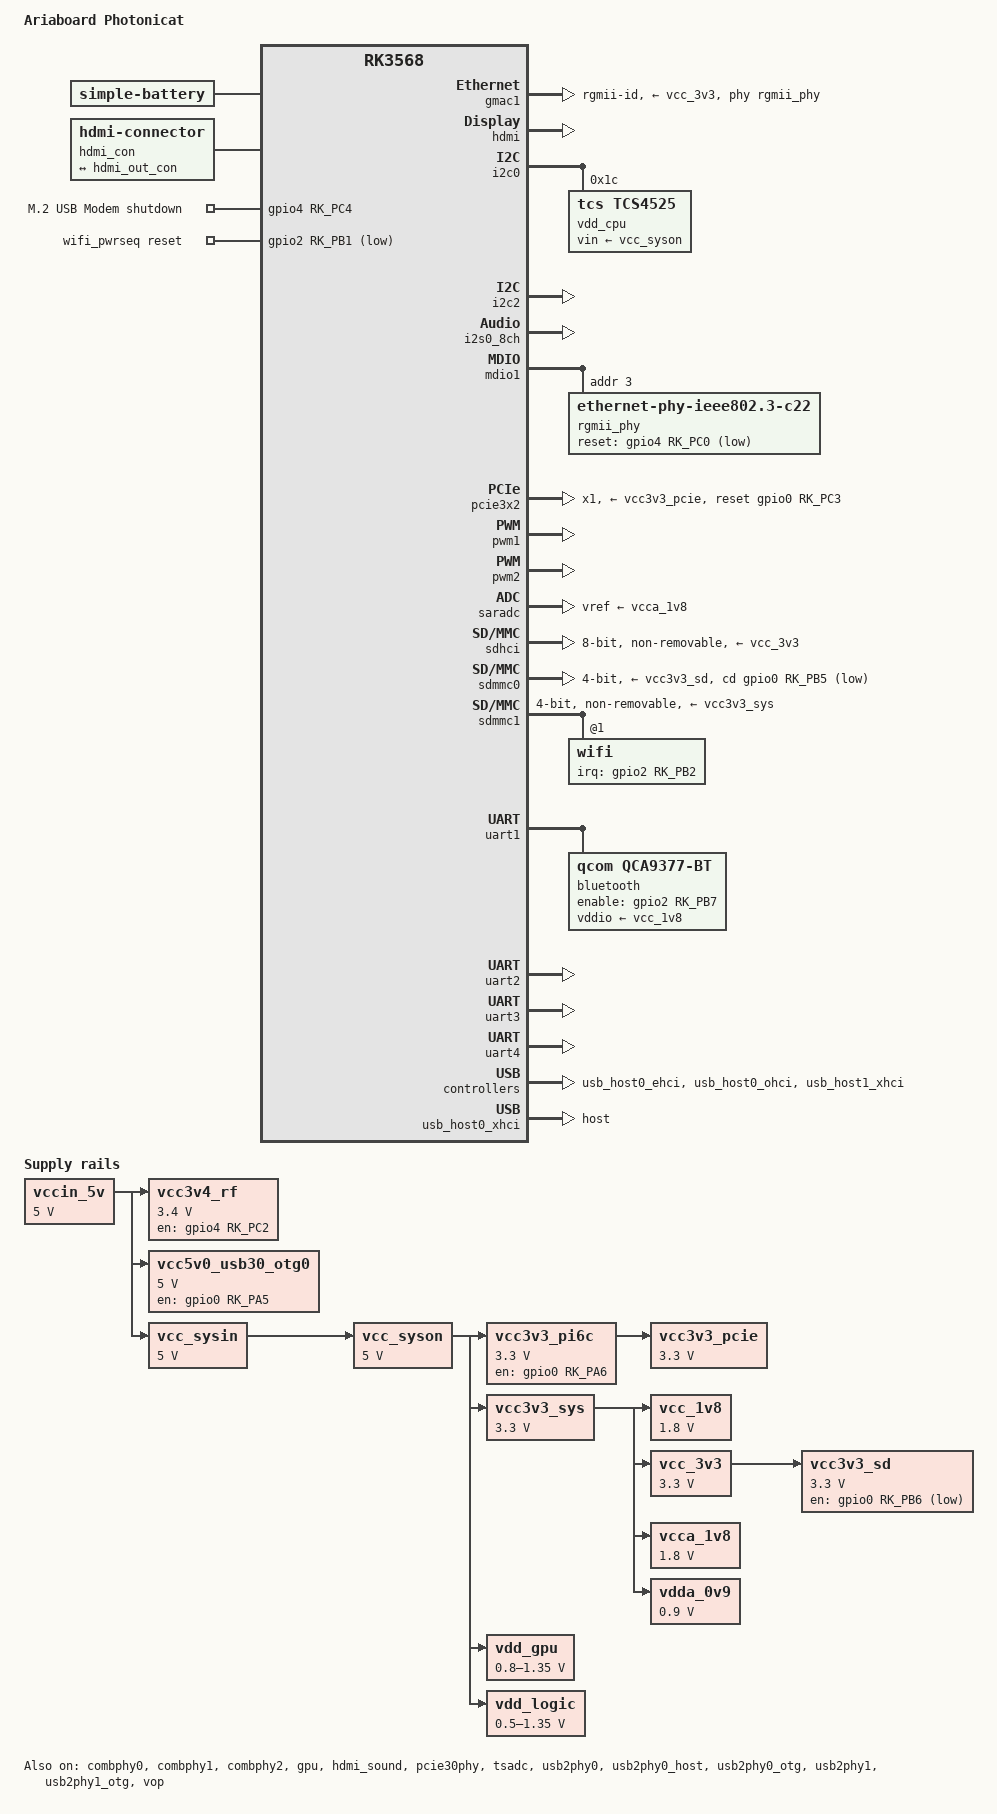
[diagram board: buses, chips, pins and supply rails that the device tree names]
// SPDX-License-Identifier: (GPL-2.0+ OR MIT)

/dts-v1/;

#include <dt-bindings/gpio/gpio.h>
#include <dt-bindings/pinctrl/rockchip.h>
#include <dt-bindings/soc/rockchip,vop2.h>
#include "rk3568.dtsi"

/ {
	model = "Ariaboard Photonicat";
	compatible = "ariaboard,photonicat", "rockchip,rk3568";

	aliases {
		ethernet0 = &gmac0;
		ethernet1 = &gmac1;
		mmc0 = &sdhci;
		mmc1 = &sdmmc0;
		mmc2 = &sdmmc1;
	};

	battery: battery {
		compatible = "simple-battery";
		device-chemistry = "lithium-ion";
		charge-full-design-microamp-hours = <6800000>;
		energy-full-design-microwatt-hours = <25000000>;
		voltage-max-design-microvolt = <4200000>;
		voltage-min-design-microvolt = <3400000>;

		ocv-capacity-celsius = <25>;
		ocv-capacity-table-0 =  <4100000 100>, <4040000 90>,
					<3980000 80>, <3920000 70>,
					<3870000 60>, <3820000 50>,
					<3790000 40>, <3770000 30>,
					<3740000 20>, <3680000 10>,
					<3450000 0>;
	};

	chosen: chosen {
		stdout-path = "serial2:1500000n8";
	};

	hdmi_con: hdmi-con {
		compatible = "hdmi-connector";
		type = "a";

		port {
			hdmi_con_in: endpoint {
				remote-endpoint = <&hdmi_out_con>;
			};
		};
	};

	vcc_1v8: regulator-vcc-1v8 {
		compatible = "regulator-fixed";
		regulator-name = "vcc_1v8";
		regulator-always-on;
		regulator-boot-on;
		regulator-min-microvolt = <1800000>;
		regulator-max-microvolt = <1800000>;
		vin-supply = <&vcc3v3_sys>;
	};

	vcc_3v3: regulator-vcc-3v3 {
		compatible = "regulator-fixed";
		regulator-name = "vcc_3v3";
		regulator-always-on;
		regulator-boot-on;
		regulator-min-microvolt = <3300000>;
		regulator-max-microvolt = <3300000>;
		vin-supply = <&vcc3v3_sys>;
	};

	/* actually fed by vcc_syson, dependent
	 * on pi6c clock generator
	 */
	vcc3v3_pcie: regulator-vcc3v3-pcie {
		compatible = "regulator-fixed";
		regulator-name = "vcc3v3_pcie";
		regulator-always-on;
		regulator-boot-on;
		regulator-min-microvolt = <3300000>;
		regulator-max-microvolt = <3300000>;
		vin-supply = <&vcc3v3_pi6c>;
	};

	/* pi6c pcie clock generator */
	vcc3v3_pi6c: regulator-vcc3v3-pi6c {
		compatible = "regulator-fixed";
		enable-active-high;
		gpio = <&gpio0 RK_PA6 GPIO_ACTIVE_HIGH>;
		pinctrl-names = "default";
		pinctrl-0 = <&pcie_pwren_h>;
		regulator-name = "vcc3v3_pi6c";
		regulator-min-microvolt = <3300000>;
		regulator-max-microvolt = <3300000>;
		vin-supply = <&vcc_syson>;
	};

	vcc3v3_sd: regulator-vcc3v3-sd {
		compatible = "regulator-fixed";
		gpio = <&gpio0 RK_PB6 GPIO_ACTIVE_LOW>;
		pinctrl-names = "default";
		pinctrl-0 = <&sdmmc0_pwren>;
		regulator-boot-on;
		regulator-name = "vcc3v3_sd";
		regulator-min-microvolt = <3300000>;
		regulator-max-microvolt = <3300000>;
		vin-supply = <&vcc_3v3>;
	};

	vcc3v3_sys: regulator-vcc3v3-sys {
		compatible = "regulator-fixed";
		regulator-name = "vcc3v3_sys";
		regulator-always-on;
		regulator-boot-on;
		regulator-min-microvolt = <3300000>;
		regulator-max-microvolt = <3300000>;
		vin-supply = <&vcc_syson>;
	};

	vcc3v4_rf: regulator-vcc3v4-rf {
		compatible = "regulator-fixed";
		enable-active-high;
		gpio = <&gpio4 RK_PC2 GPIO_ACTIVE_HIGH>;
		pinctrl-names = "default";
		pinctrl-0 = <&rf_pwr_en>;
		regulator-name = "vcc3v4_rf";
		regulator-min-microvolt = <3400000>;
		regulator-max-microvolt = <3400000>;
		vin-supply = <&vccin_5v>;
	};

	vcc5v0_usb30_otg0: regulator-vcc5v0-usb30-otg0 {
		compatible = "regulator-fixed";
		enable-active-high;
		gpio = <&gpio0 RK_PA5 GPIO_ACTIVE_HIGH>;
		pinctrl-names = "default";
		pinctrl-0 = <&usb_host_pwren_h>;
		regulator-name = "vcc5v0_usb30_otg0";
		regulator-min-microvolt = <5000000>;
		regulator-max-microvolt = <5000000>;
		vin-supply = <&vccin_5v>;
	};

	vccin_5v: regulator-vccin-5v {
		compatible = "regulator-fixed";
		regulator-name = "vccin_5v";
		regulator-always-on;
		regulator-boot-on;
		regulator-min-microvolt = <5000000>;
		regulator-max-microvolt = <5000000>;
	};

	vcc_sysin: regulator-vcc-sysin {
		compatible = "regulator-fixed";
		regulator-name = "vcc_sysin";
		regulator-always-on;
		regulator-boot-on;
		regulator-min-microvolt = <5000000>;
		regulator-max-microvolt = <5000000>;
		vin-supply = <&vccin_5v>;
	};

	vcc_syson: regulator-vcc-syson {
		compatible = "regulator-fixed";
		regulator-name = "vcc_syson";
		regulator-always-on;
		regulator-boot-on;
		regulator-min-microvolt = <5000000>;
		regulator-max-microvolt = <5000000>;
		vin-supply = <&vcc_sysin>;
	};

	vcca_1v8: regulator-vcca-1v8 {
		compatible = "regulator-fixed";
		regulator-name = "vcca_1v8";
		regulator-always-on;
		regulator-boot-on;
		regulator-min-microvolt = <1800000>;
		regulator-max-microvolt = <1800000>;
		vin-supply = <&vcc3v3_sys>;
	};

	vdda_0v9: regulator-vdda-0v9 {
		compatible = "regulator-fixed";
		regulator-name = "vdda_0v9";
		regulator-always-on;
		regulator-boot-on;
		regulator-min-microvolt = <900000>;
		regulator-max-microvolt = <900000>;
		vin-supply = <&vcc3v3_sys>;
	};

	vdd_gpu: regulator-vdd-gpu {
		compatible = "pwm-regulator";
		pwms = <&pwm2 0 5000 1>;
		pwm-supply = <&vcc_syson>;
		regulator-name = "vdd_gpu";
		regulator-min-microvolt = <800000>;
		regulator-max-microvolt = <1350000>;
		regulator-ramp-delay = <6001>;
		regulator-settling-time-up-us = <250>;
	};

	vdd_logic: regulator-vdd-logic {
		compatible = "pwm-regulator";
		pwms = <&pwm1 0 5000 1>;
		pwm-supply = <&vcc_syson>;
		regulator-name = "vdd_logic";
		regulator-min-microvolt = <500000>;
		regulator-max-microvolt = <1350000>;
		regulator-ramp-delay = <6001>;
		regulator-settling-time-up-us = <250>;
	};

	rfkill-modem {
		compatible = "rfkill-gpio";
		label = "M.2 USB Modem";
		radio-type = "wwan";
		shutdown-gpios = <&gpio4 RK_PC4 GPIO_ACTIVE_HIGH>;
	};

	wifi_pwrseq: wifi-pwrseq {
		compatible = "mmc-pwrseq-simple";
		clocks = <&pmucru CLK_RTC_32K>;
		clock-names = "ext_clock";
		pinctrl-names = "default";
		pinctrl-0 = <&wifi_reg_on_h &clk32k_out1>;
		post-power-on-delay-ms = <200>;
		reset-gpios = <&gpio2 RK_PB1 GPIO_ACTIVE_LOW>;
	};
};

&combphy0 {
	status = "okay";
};

&combphy1 {
	status = "okay";
};

&combphy2 {
	status = "okay";
};

&cpu0 {
	cpu-supply = <&vdd_cpu>;
};

&cpu1 {
	cpu-supply = <&vdd_cpu>;
};

&cpu2 {
	cpu-supply = <&vdd_cpu>;
};

&cpu3 {
	cpu-supply = <&vdd_cpu>;
};

/* Motorcomm YT8521SC LAN port (require SGMII) */
&gmac0 {
	status = "disabled";
};

/* Motorcomm YT8521SC WAN port */
&gmac1 {
	assigned-clocks = <&cru SCLK_GMAC1_RX_TX>, <&cru SCLK_GMAC1>;
	assigned-clock-parents = <&cru SCLK_GMAC1_RGMII_SPEED>;
	assigned-clock-rates = <0>, <125000000>;
	clock_in_out = "output";
	phy-handle = <&rgmii_phy>;
	phy-mode = "rgmii-id";
	phy-supply = <&vcc_3v3>;
	pinctrl-names = "default";
	pinctrl-0 = <&gmac1m1_miim
		     &gmac1m1_tx_bus2
		     &gmac1m1_rx_bus2
		     &gmac1m1_rgmii_clk
		     &gmac1m1_rgmii_bus>;
	status = "okay";
};

&gpu {
	mali-supply = <&vdd_gpu>;
	status = "okay";
};

&hdmi {
	avdd-0v9-supply = <&vdda_0v9>;
	avdd-1v8-supply = <&vcca_1v8>;
	status = "okay";
};

&hdmi_in {
	hdmi_in_vp0: endpoint {
		remote-endpoint = <&vp0_out_hdmi>;
	};
};

&hdmi_out {
	hdmi_out_con: endpoint {
		remote-endpoint = <&hdmi_con_in>;
	};
};

&hdmi_sound {
	status = "okay";
};

&i2c0 {
	status = "okay";

	vdd_cpu: regulator@1c {
		compatible = "tcs,tcs4525";
		reg = <0x1c>;
		fcs,suspend-voltage-selector = <1>;
		regulator-name = "vdd_cpu";
		regulator-always-on;
		regulator-boot-on;
		regulator-min-microvolt = <800000>;
		regulator-max-microvolt = <1150000>;
		regulator-ramp-delay = <2300>;
		vin-supply = <&vcc_syson>;

		regulator-state-mem {
			regulator-off-in-suspend;
		};
	};
};

&i2c2 {
	pinctrl-names = "default";
	pinctrl-0 = <&i2c2m1_xfer>;
	status = "okay";
};

&i2s0_8ch {
	status = "okay";
};

&mdio1 {
	rgmii_phy: ethernet-phy@3 {
		compatible = "ethernet-phy-ieee802.3-c22";
		reg = <0x3>;
		reset-assert-us = <20000>;
		reset-deassert-us = <100000>;
		reset-gpios = <&gpio4 RK_PC0 GPIO_ACTIVE_LOW>;
		rx-internal-delay-ps = <1500>;
		tx-internal-delay-ps = <1500>;
	};
};

&pcie30phy {
	status = "okay";
};

/* M.2 E-Key for PCIe WLAN */
&pcie3x2 {
	max-link-speed = <1>;
	num-lanes = <1>;
	pinctrl-names = "default";
	pinctrl-0 = <&pcie30x1m0_pins>;
	reset-gpios = <&gpio0 RK_PC3 GPIO_ACTIVE_HIGH>;
	vpcie3v3-supply = <&vcc3v3_pcie>;
	status = "okay";
};

&pinctrl {
	bt {
		bt_reg_on_h: bt-reg-on-h {
			rockchip,pins = <2 RK_PB7 RK_FUNC_GPIO &pcfg_pull_none>;
		};
	};

	pcie {
		pcie_pwren_h: pcie-pwren-h {
			rockchip,pins = <0 RK_PA6 RK_FUNC_GPIO &pcfg_pull_none>;
		};
	};

	sdmmc0 {
		sdmmc0_pwren: sdmmc0-pwren {
			rockchip,pins = <0 RK_PB6 RK_FUNC_GPIO &pcfg_pull_none>;
		};
	};

	usb {
		rf_pwr_en: rf-pwr-en {
			rockchip,pins = <4 RK_PC2 RK_FUNC_GPIO &pcfg_pull_none>;
		};

		usb_host_pwren_h: usb-host-pwren-h {
			rockchip,pins = <0 RK_PA5 RK_FUNC_GPIO &pcfg_pull_none>;
		};
	};

	wifi {
		wifi_reg_on_h: wifi-reg-on-h {
			rockchip,pins = <2 RK_PB1 RK_FUNC_GPIO &pcfg_pull_none>;
		};
	};
};

&pmu_io_domains {
	pmuio1-supply = <&vcc_3v3>;
	pmuio2-supply = <&vcc_3v3>;
	vccio1-supply = <&vcc_3v3>;
	vccio2-supply = <&vcc_1v8>;
	vccio3-supply = <&vcc_3v3>;
	vccio4-supply = <&vcc_1v8>;
	vccio5-supply = <&vcc_3v3>;
	vccio6-supply = <&vcc_3v3>;
	vccio7-supply = <&vcc_3v3>;
	status = "okay";
};

&pwm1 {
	status = "okay";
};

&pwm2 {
	status = "okay";
};

&saradc {
	vref-supply = <&vcca_1v8>;
	status = "okay";
};

/* eMMC */
&sdhci {
	bus-width = <8>;
	max-frequency = <200000000>;
	mmc-hs200-1_8v;
	non-removable;
	pinctrl-names = "default";
	pinctrl-0 = <&emmc_bus8 &emmc_clk &emmc_cmd>;
	vmmc-supply = <&vcc_3v3>;
	vqmmc-supply = <&vcc_1v8>;
	status = "okay";
};

/* Micro SD card slot */
&sdmmc0 {
	bus-width = <4>;
	cap-sd-highspeed;
	cd-gpios = <&gpio0 RK_PB5 GPIO_ACTIVE_LOW>;
	disable-wp;
	no-1-8-v;
	pinctrl-names = "default";
	pinctrl-0 = <&sdmmc0_bus4 &sdmmc0_clk &sdmmc0_cmd>;
	vmmc-supply = <&vcc3v3_sd>;
	vqmmc-supply = <&vcc_3v3>;
	status = "okay";
};

/* Qualcomm Atheros QCA9377 WiFi */
&sdmmc1 {
	bus-width = <4>;
	cap-sd-highspeed;
	cap-sdio-irq;
	keep-power-in-suspend;
	mmc-pwrseq = <&wifi_pwrseq>;
	non-removable;
	pinctrl-names = "default";
	pinctrl-0 = <&sdmmc1_bus4 &sdmmc1_cmd &sdmmc1_clk>;
	sd-uhs-sdr104;
	vmmc-supply = <&vcc3v3_sys>;
	vqmmc-supply = <&vcc_1v8>;
	#address-cells = <1>;
	#size-cells = <0>;
	status = "okay";

	wifi: wifi@1 {
		reg = <1>;
		interrupt-parent = <&gpio2>;
		interrupts = <RK_PB2 IRQ_TYPE_LEVEL_HIGH>;
		interrupt-names = "host-wake";
	};
};

&tsadc {
	rockchip,hw-tshut-mode = <1>;
	rockchip,hw-tshut-polarity = <0>;
	status = "okay";
};

/* Qualcomm Atheros QCA9377 Bluetooth */
&uart1 {
	dma-names = "tx", "rx";
	pinctrl-names = "default";
	pinctrl-0 = <&uart1m0_xfer &uart1m0_ctsn &uart1m0_rtsn>;
	uart-has-rtscts;
	status = "okay";

	bluetooth {
		compatible = "qcom,qca9377-bt";
		clocks = <&pmucru CLK_RTC_32K>;
		enable-gpios = <&gpio2 RK_PB7 GPIO_ACTIVE_HIGH>;
		pinctrl-names = "default";
		pinctrl-0 = <&bt_reg_on_h>;
		vddio-supply = <&vcc_1v8>;
	};
};

/* Debug UART */
&uart2 {
	status = "okay";
};

&uart3 {
	dma-names = "tx", "rx";
	status = "okay";
};

/* Onboard power management MCU */
&uart4 {
	dma-names = "tx", "rx";
	status = "okay";
};

/* M.2 E-Key for USB Bluetooth */
&usb_host0_ehci {
	status = "okay";
};

&usb_host0_ohci {
	status = "okay";
};

/* USB Type-A Port */
&usb_host0_xhci {
	dr_mode = "host";
	status = "okay";
};

/* M.2 B-Key for USB Modem WWAN */
&usb_host1_xhci {
	status = "okay";
};

&usb2phy0 {
	status = "okay";
};

&usb2phy0_host {
	phy-supply = <&vcc3v4_rf>;
	status = "okay";
};

&usb2phy0_otg {
	phy-supply = <&vcc5v0_usb30_otg0>;
	status = "okay";
};

&usb2phy1 {
	status = "okay";
};

&usb2phy1_otg {
	phy-supply = <&vcc5v0_usb30_otg0>;
	status = "okay";
};

&vop {
	assigned-clocks = <&cru DCLK_VOP0>, <&cru DCLK_VOP1>;
	assigned-clock-parents = <&pmucru PLL_HPLL>, <&cru PLL_VPLL>;
	status = "okay";
};

&vop_mmu {
	status = "okay";
};

&vp0 {
	vp0_out_hdmi: endpoint@ROCKCHIP_VOP2_EP_HDMI0 {
		reg = <ROCKCHIP_VOP2_EP_HDMI0>;
		remote-endpoint = <&hdmi_in_vp0>;
	};
};

&xin32k {
	pinctrl-names = "default";
	pinctrl-0 = <&clk32k_out1>;
};
